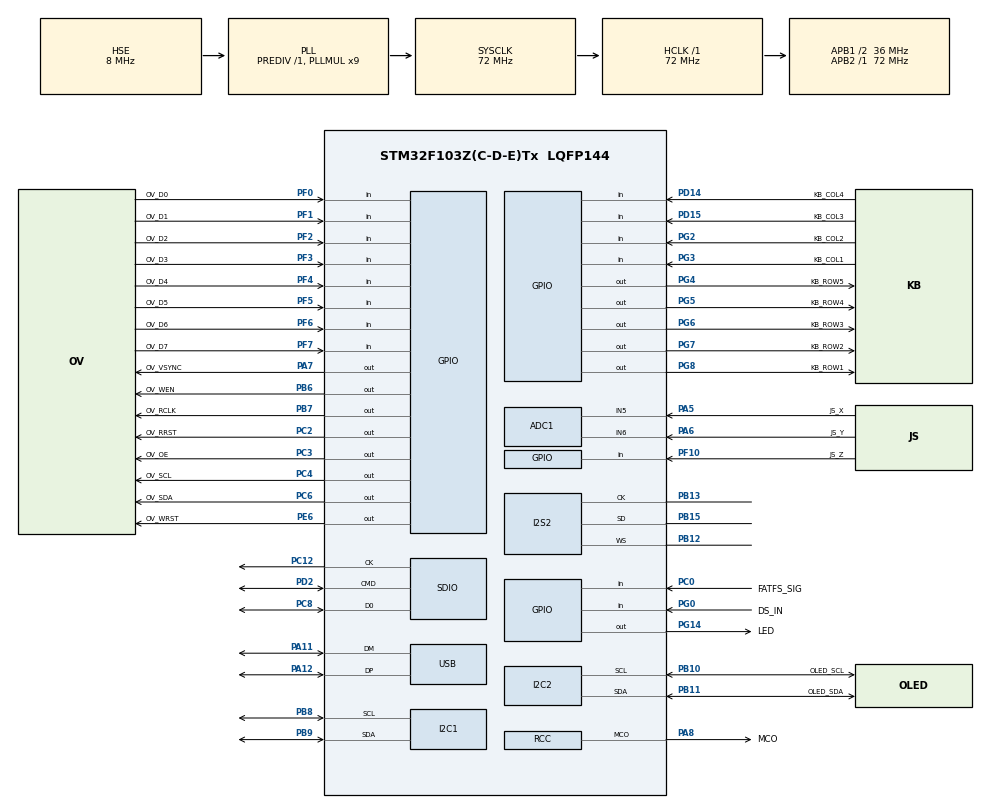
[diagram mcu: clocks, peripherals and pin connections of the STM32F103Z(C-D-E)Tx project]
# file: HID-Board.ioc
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ADC1.Channel-0\#ChannelRegularConversion=ADC_CHANNEL_5
ADC1.Channel-1\#ChannelRegularConversion=ADC_CHANNEL_6
ADC1.ContinuousConvMode=ENABLE
ADC1.NbrOfConversion=2
ADC1.NbrOfConversionFlag=1
ADC1.Rank-0\#ChannelRegularConversion=1
ADC1.Rank-1\#ChannelRegularConversion=2
ADC1.SamplingTime-0\#ChannelRegularConversion=ADC_SAMPLETIME_239CYCLES_5
ADC1.SamplingTime-1\#ChannelRegularConversion=ADC_SAMPLETIME_239CYCLES_5
ADC1.master=1
Dma.ADC1.1.Direction=DMA_PERIPH_TO_MEMORY
Dma.ADC1.1.Instance=DMA1_Channel1
Dma.ADC1.1.MemDataAlignment=DMA_MDATAALIGN_WORD
Dma.ADC1.1.MemInc=DMA_MINC_ENABLE
Dma.ADC1.1.Mode=DMA_CIRCULAR
Dma.ADC1.1.PeriphDataAlignment=DMA_PDATAALIGN_WORD
Dma.ADC1.1.PeriphInc=DMA_PINC_DISABLE
Dma.ADC1.1.Priority=DMA_PRIORITY_HIGH
Dma.Request0=SDIO
Dma.Request1=ADC1
Dma.SDIO.0.Direction=DMA_PERIPH_TO_MEMORY
Dma.SDIO.0.Instance=DMA2_Channel4
Dma.SDIO.0.MemDataAlignment=DMA_MDATAALIGN_WORD
Dma.SDIO.0.MemInc=DMA_MINC_ENABLE
Dma.SDIO.0.Mode=DMA_NORMAL
Dma.SDIO.0.PeriphDataAlignment=DMA_PDATAALIGN_WORD
Dma.SDIO.0.PeriphInc=DMA_PINC_DISABLE
Dma.SDIO.0.Priority=DMA_PRIORITY_LOW
FATFS.BSP.number=1
FATFS._CODE_PAGE=437
FATFS._MAX_LFN=64
FATFS._USE_LFN=2
FATFS0.BSP.STBoard=false
FATFS0.BSP.api=Unknown
FATFS0.BSP.instance=PC0
FATFS0.BSP.ip=GPIO
FATFS0.BSP.mode=Input
FATFS0.BSP.name=Detect_SDIO
FATFS0.BSP.solution=PC0
I2S2.ErrorAudioFreq=0.08 %
I2S2.Instance=SPI$Index
I2S2.RealAudioFreq=8.007 KHz
I2S2.VirtualMode=I2S_MODE_MASTER
Mcu.Family=STM32F1
Mcu.Name=STM32F103Z(C-D-E)Tx
Mcu.Package=LQFP144
NVIC.DMA1_Channel1_IRQn=true\:0\:0\:false\:false\:true\:false\:true\:true
NVIC.DMA2_Channel4_5_IRQn=true\:2\:0\:true\:false\:true\:false\:true\:true
NVIC.PriorityGroup=NVIC_PRIORITYGROUP_4
NVIC.SDIO_IRQn=true\:0\:0\:false\:false\:true\:true\:true\:true
NVIC.USB_LP_CAN1_RX0_IRQn=true\:0\:0\:false\:false\:true\:false\:true\:true
OSC_IN.Mode=HSE-External-Oscillator
OSC_IN.Signal=RCC_OSC_IN
OSC_OUT.Mode=HSE-External-Oscillator
OSC_OUT.Signal=RCC_OSC_OUT
PA11.Mode=Device
PA11.Signal=USB_DM
PA12.Mode=Device
PA12.Signal=USB_DP
PA13.Mode=Serial_Wire
PA13.Signal=SYS_JTMS-SWDIO
PA14.Mode=Serial_Wire
PA14.Signal=SYS_JTCK-SWCLK
PA5.GPIO_Label=JS_X
PA5.Signal=ADCx_IN5
PA6.GPIO_Label=JS_Y
PA6.Signal=ADCx_IN6
PA7.GPIO_Label=OV_VSYNC
PA7.Signal=GPIO_Output
PA8.GPIO_Label=MCO
PA8.Mode=Clock-out
PA8.Signal=RCC_MCO
PB10.GPIO_Label=OLED_SCL
PB10.Mode=I2C
PB10.Signal=I2C2_SCL
PB11.GPIO_Label=OLED_SDA
PB11.Mode=I2C
PB11.Signal=I2C2_SDA
PB12.Mode=Half_Duplex_Master_TX
PB12.Signal=I2S2_WS
PB13.Mode=Half_Duplex_Master_TX
PB13.Signal=I2S2_CK
PB15.Mode=Half_Duplex_Master_TX
PB15.Signal=I2S2_SD
PB6.GPIO_Label=OV_WEN
PB6.Signal=GPIO_Output
PB7.GPIO_Label=OV_RCLK
PB7.Signal=GPIO_Output
PB8.Mode=I2C
PB8.Signal=I2C1_SCL
PB9.Mode=I2C
PB9.Signal=I2C1_SDA
PC0.GPIO_Label=FATFS_SIG
PC0.GPIO_PuPd=GPIO_PULLDOWN
PC0.Signal=GPIO_Input
PC12.Mode=SD_1_bit
PC12.Signal=SDIO_CK
PC2.GPIO_Label=OV_RRST
PC2.Signal=GPIO_Output
PC3.GPIO_Label=OV_OE
PC3.Signal=GPIO_Output
PC4.GPIO_Label=OV_SCL
PC4.Signal=GPIO_Output
PC6.GPIO_Label=OV_SDA
PC6.Signal=GPIO_Output
PC8.Mode=SD_1_bit
PC8.Signal=SDIO_D0
PD14.GPIO_Label=KB_COL4
PD14.GPIO_PuPd=GPIO_PULLDOWN
PD14.Signal=GPIO_Input
PD15.GPIO_Label=KB_COL3
PD15.GPIO_PuPd=GPIO_PULLDOWN
PD15.Signal=GPIO_Input
PD2.Mode=SD_1_bit
PD2.Signal=SDIO_CMD
PE6.GPIO_Label=OV_WRST
PE6.Signal=GPIO_Output
PF0.GPIO_Label=OV_D0
PF0.Signal=GPIO_Input
PF1.GPIO_Label=OV_D1
PF1.Signal=GPIO_Input
PF10.GPIO_Label=JS_Z
PF10.Signal=GPIO_Input
PF2.GPIO_Label=OV_D2
PF2.Signal=GPIO_Input
PF3.GPIO_Label=OV_D3
PF3.Signal=GPIO_Input
PF4.GPIO_Label=OV_D4
PF4.Signal=GPIO_Input
PF5.GPIO_Label=OV_D5
PF5.Signal=GPIO_Input
PF6.GPIO_Label=OV_D6
PF6.Signal=GPIO_Input
PF7.GPIO_Label=OV_D7
PF7.Signal=GPIO_Input
PG0.GPIO_Label=DS_IN
PG0.Signal=GPIO_Input
PG14.GPIO_Label=LED
PG14.Signal=GPIO_Output
PG2.GPIO_Label=KB_COL2
PG2.GPIO_PuPd=GPIO_PULLDOWN
PG2.Signal=GPIO_Input
PG3.GPIO_Label=KB_COL1
PG3.GPIO_PuPd=GPIO_PULLDOWN
PG3.Signal=GPIO_Input
PG4.GPIO_Label=KB_ROW5
PG4.GPIO_PuPd=GPIO_NOPULL
PG4.GPIO_Speed=GPIO_SPEED_FREQ_HIGH
PG4.Signal=GPIO_Output
PG5.GPIO_Label=KB_ROW4
PG5.GPIO_PuPd=GPIO_NOPULL
PG5.GPIO_Speed=GPIO_SPEED_FREQ_HIGH
PG5.Signal=GPIO_Output
PG6.GPIO_Label=KB_ROW3
PG6.GPIO_PuPd=GPIO_NOPULL
PG6.GPIO_Speed=GPIO_SPEED_FREQ_HIGH
PG6.Signal=GPIO_Output
PG7.GPIO_Label=KB_ROW2
PG7.GPIO_PuPd=GPIO_NOPULL
PG7.GPIO_Speed=GPIO_SPEED_FREQ_HIGH
PG7.Signal=GPIO_Output
PG8.GPIO_Label=KB_ROW1
PG8.GPIO_PuPd=GPIO_NOPULL
PG8.GPIO_Speed=GPIO_SPEED_FREQ_HIGH
PG8.Signal=GPIO_Output
ProjectManager.HeapSize=0x200
ProjectManager.StackSize=0x400
ProjectManager.TargetToolchain=Makefile
RCC.ADCPresc=RCC_ADCPCLK2_DIV6
RCC.AHBFreq_Value=72000000
RCC.APB1CLKDivider=RCC_HCLK_DIV2
RCC.APB1Freq_Value=36000000
RCC.APB1TimFreq_Value=72000000
RCC.APB2Freq_Value=72000000
RCC.APB2TimFreq_Value=72000000
RCC.HCLKFreq_Value=72000000
RCC.PLLMUL=RCC_PLL_MUL9
RCC.PLLSourceVirtual=RCC_PLLSOURCE_HSE
RCC.RCC_MCOSource=RCC_MCO1SOURCE_HSE
RCC.SYSCLKFreq_VALUE=72000000
RCC.SYSCLKSource=RCC_SYSCLKSOURCE_PLLCLK
RCC.USBFreq_Value=48000000
RCC.USBPrescaler=RCC_USBCLKSOURCE_PLL_DIV1_5
SDIO.ClockDiv=2
SH.ADCx_IN5.0=ADC1_IN5,IN5
SH.ADCx_IN6.0=ADC1_IN6,IN6
USB_DEVICE.CLASS_NAME_FS=HID
USB_DEVICE.VirtualMode=Hid
USB_DEVICE.VirtualModeFS=Hid_FS
VP_FATFS_VS_SDIO.Mode=SDIO
VP_USB_DEVICE_VS_USB_DEVICE_HID_FS.Mode=HID_FS
board=custom

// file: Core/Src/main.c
/* USER CODE BEGIN Header */
/**
 ******************************************************************************
 * @file           : main.c
 * @brief          : Main program body
 ******************************************************************************
 * @attention
 *
 * Copyright (c) 2025 STMicroelectronics.
 * All rights reserved.
 *
 * This software is licensed under terms that can be found in the LICENSE file
 * in the root directory of this software component.
 * If no LICENSE file comes with this software, it is provided AS-IS.
 *
 ******************************************************************************
 */
/* USER CODE END Header */
#include "main.h"
#include "fatfs.h"
#include "usb_device.h"

/* USER CODE BEGIN Includes */
#include "sd_card.h"
#include "joystick.h"
#include "usbd_hid_keyboard.h"
#include "keyboard.h"
#include "camera.h"
#include "delay.h"
#include <stdlib.h>
/* USER CODE END Includes */

ADC_HandleTypeDef hadc1;
DMA_HandleTypeDef hdma_adc1;

I2C_HandleTypeDef hi2c1;
I2C_HandleTypeDef hi2c2;

I2S_HandleTypeDef hi2s2;

SD_HandleTypeDef hsd;
DMA_HandleTypeDef hdma_sdio;

/* USER CODE BEGIN PV */
extern USBD_HandleTypeDef hUsbDeviceFS;
keyboard_ctx ctx;
/* USER CODE END PV */

void SystemClock_Config(void);
static void MX_GPIO_Init(void);
static void MX_DMA_Init(void);
static void MX_ADC1_Init(void);
static void MX_I2C1_Init(void);
static void MX_I2C2_Init(void);
static void MX_SDIO_SD_Init(void);
static void MX_I2S2_Init(void);

int main(void)
{

  /* MCU Configuration--------------------------------------------------------*/

  /* Reset of all peripherals, Initializes the Flash interface and the Systick. */
  HAL_Init();

  /* Configure the system clock */
  SystemClock_Config();

  /* Initialize all configured peripherals */
  MX_GPIO_Init();
  MX_DMA_Init();
  MX_ADC1_Init();
  MX_I2C1_Init();
  MX_I2C2_Init();
  MX_SDIO_SD_Init();
  MX_I2S2_Init();
  MX_FATFS_Init();
  MX_USB_DEVICE_Init();
  delay_init();

  /* Infinite loop */
  /* USER CODE BEGIN WHILE */
  sd_card_init();
  // BYTE w_buf[] = "This is another test";
  // int res = sd_card_write("test2.txt", w_buf, sizeof(w_buf));
  // printf("%d", res);
  // size_t buflen = 1024;
  // BYTE *buf = (BYTE *)malloc(sizeof(BYTE) * buflen);
  // res = sd_card_read("test2.txt", buf, buflen);
  // printf("%d", res);

  // ctx = keyboard_new();
  uint8_t ret;

  ret = camera_init();
  if (ret != 0)
  {
      Error_Handler();
  }

  ret  = camera_set_output(CAMERA_QVGA_WIDTH_MAX, CAMERA_QVGA_HEIGHT_MAX, CAMERA_OUTPUT_MODE_QVGA);
  ret += camera_set_light_mode(CAMERA_LIGHT_MODE_AUTO);
  ret += camera_set_color_saturation(CAMERA_COLOR_SATURATION_4);
  ret += camera_set_brightness(CAMERA_BRIGHTNESS_4);
  ret += camera_set_contrast(CAMERA_CONTRAST_4);
  ret += camera_set_special_effect(CAMERA_SPECIAL_EFFECT_NORMAL);
  if (ret != 0)
  {
      Error_Handler();
  }
  camera_enable_output();
  size_t buflen = camera_get_output_height() * camera_get_output_width() * 2;
  uint16_t *buf = (uint16_t *)malloc(buflen);
  ret = camera_get_frame(buf, CAMERA_GET_FRAME_TYPE_AUTO_INC);
  int res = sd_card_write("frame.raw", (BYTE *)(buf), buflen);
  while (1)
  {
    // keyboard_scan(&ctx);
    /* USER CODE END WHILE */

  }
}

void SystemClock_Config(void)
{
  RCC_OscInitTypeDef RCC_OscInitStruct = {0};
  RCC_ClkInitTypeDef RCC_ClkInitStruct = {0};
  RCC_PeriphCLKInitTypeDef PeriphClkInit = {0};

  /** Initializes the RCC Oscillators according to the specified parameters
  * in the RCC_OscInitTypeDef structure.
  */
  RCC_OscInitStruct.OscillatorType = RCC_OSCILLATORTYPE_HSE;
  RCC_OscInitStruct.HSEState = RCC_HSE_ON;
  RCC_OscInitStruct.HSEPredivValue = RCC_HSE_PREDIV_DIV1;
  RCC_OscInitStruct.HSIState = RCC_HSI_ON;
  RCC_OscInitStruct.PLL.PLLState = RCC_PLL_ON;
  RCC_OscInitStruct.PLL.PLLSource = RCC_PLLSOURCE_HSE;
  RCC_OscInitStruct.PLL.PLLMUL = RCC_PLL_MUL9;
  if (HAL_RCC_OscConfig(&RCC_OscInitStruct) != HAL_OK)
  {
    Error_Handler();
  }

  /** Initializes the CPU, AHB and APB buses clocks
  */
  RCC_ClkInitStruct.ClockType = RCC_CLOCKTYPE_HCLK|RCC_CLOCKTYPE_SYSCLK
                              |RCC_CLOCKTYPE_PCLK1|RCC_CLOCKTYPE_PCLK2;
  RCC_ClkInitStruct.SYSCLKSource = RCC_SYSCLKSOURCE_PLLCLK;
  RCC_ClkInitStruct.AHBCLKDivider = RCC_SYSCLK_DIV1;
  RCC_ClkInitStruct.APB1CLKDivider = RCC_HCLK_DIV2;
  RCC_ClkInitStruct.APB2CLKDivider = RCC_HCLK_DIV1;

  if (HAL_RCC_ClockConfig(&RCC_ClkInitStruct, FLASH_LATENCY_2) != HAL_OK)
  {
    Error_Handler();
  }
  PeriphClkInit.PeriphClockSelection = RCC_PERIPHCLK_ADC|RCC_PERIPHCLK_I2S2
                              |RCC_PERIPHCLK_USB;
  PeriphClkInit.AdcClockSelection = RCC_ADCPCLK2_DIV6;
  PeriphClkInit.I2s2ClockSelection = RCC_I2S2CLKSOURCE_SYSCLK;
  PeriphClkInit.UsbClockSelection = RCC_USBCLKSOURCE_PLL_DIV1_5;
  if (HAL_RCCEx_PeriphCLKConfig(&PeriphClkInit) != HAL_OK)
  {
    Error_Handler();
  }
  HAL_RCC_MCOConfig(RCC_MCO, RCC_MCO1SOURCE_HSE, RCC_MCODIV_1);
}

static void MX_ADC1_Init(void)
{

  ADC_ChannelConfTypeDef sConfig = {0};

  /** Common config
  */
  hadc1.Instance = ADC1;
  hadc1.Init.ScanConvMode = ADC_SCAN_ENABLE;
  hadc1.Init.ContinuousConvMode = ENABLE;
  hadc1.Init.DiscontinuousConvMode = DISABLE;
  hadc1.Init.ExternalTrigConv = ADC_SOFTWARE_START;
  hadc1.Init.DataAlign = ADC_DATAALIGN_RIGHT;
  hadc1.Init.NbrOfConversion = 2;
  if (HAL_ADC_Init(&hadc1) != HAL_OK)
  {
    Error_Handler();
  }

  /** Configure Regular Channel
  */
  sConfig.Channel = ADC_CHANNEL_5;
  sConfig.Rank = ADC_REGULAR_RANK_1;
  sConfig.SamplingTime = ADC_SAMPLETIME_239CYCLES_5;
  if (HAL_ADC_ConfigChannel(&hadc1, &sConfig) != HAL_OK)
  {
    Error_Handler();
  }

  /** Configure Regular Channel
  */
  sConfig.Channel = ADC_CHANNEL_6;
  sConfig.Rank = ADC_REGULAR_RANK_2;
  if (HAL_ADC_ConfigChannel(&hadc1, &sConfig) != HAL_OK)
  {
    Error_Handler();
  }

}

static void MX_I2C1_Init(void)
{

  hi2c1.Instance = I2C1;
  hi2c1.Init.ClockSpeed = 100000;
  hi2c1.Init.DutyCycle = I2C_DUTYCYCLE_2;
  hi2c1.Init.OwnAddress1 = 0;
  hi2c1.Init.AddressingMode = I2C_ADDRESSINGMODE_7BIT;
  hi2c1.Init.DualAddressMode = I2C_DUALADDRESS_DISABLE;
  hi2c1.Init.OwnAddress2 = 0;
  hi2c1.Init.GeneralCallMode = I2C_GENERALCALL_DISABLE;
  hi2c1.Init.NoStretchMode = I2C_NOSTRETCH_DISABLE;
  if (HAL_I2C_Init(&hi2c1) != HAL_OK)
  {
    Error_Handler();
  }

}

static void MX_I2C2_Init(void)
{

  hi2c2.Instance = I2C2;
  hi2c2.Init.ClockSpeed = 100000;
  hi2c2.Init.DutyCycle = I2C_DUTYCYCLE_2;
  hi2c2.Init.OwnAddress1 = 0;
  hi2c2.Init.AddressingMode = I2C_ADDRESSINGMODE_7BIT;
  hi2c2.Init.DualAddressMode = I2C_DUALADDRESS_DISABLE;
  hi2c2.Init.OwnAddress2 = 0;
  hi2c2.Init.GeneralCallMode = I2C_GENERALCALL_DISABLE;
  hi2c2.Init.NoStretchMode = I2C_NOSTRETCH_DISABLE;
  if (HAL_I2C_Init(&hi2c2) != HAL_OK)
  {
    Error_Handler();
  }

}

static void MX_I2S2_Init(void)
{

  hi2s2.Instance = SPI2;
  hi2s2.Init.Mode = I2S_MODE_MASTER_TX;
  hi2s2.Init.Standard = I2S_STANDARD_PHILIPS;
  hi2s2.Init.DataFormat = I2S_DATAFORMAT_16B;
  hi2s2.Init.MCLKOutput = I2S_MCLKOUTPUT_DISABLE;
  hi2s2.Init.AudioFreq = I2S_AUDIOFREQ_8K;
  hi2s2.Init.CPOL = I2S_CPOL_LOW;
  if (HAL_I2S_Init(&hi2s2) != HAL_OK)
  {
    Error_Handler();
  }

}

static void MX_SDIO_SD_Init(void)
{

  hsd.Instance = SDIO;
  hsd.Init.ClockEdge = SDIO_CLOCK_EDGE_RISING;
  hsd.Init.ClockBypass = SDIO_CLOCK_BYPASS_DISABLE;
  hsd.Init.ClockPowerSave = SDIO_CLOCK_POWER_SAVE_DISABLE;
  hsd.Init.BusWide = SDIO_BUS_WIDE_1B;
  hsd.Init.HardwareFlowControl = SDIO_HARDWARE_FLOW_CONTROL_DISABLE;
  hsd.Init.ClockDiv = 2;
  /* USER CODE BEGIN SDIO_Init 2 */
  hsd.Init.ClockDiv = 5;
  /* USER CODE END SDIO_Init 2 */

}

static void MX_DMA_Init(void)
{

  /* DMA controller clock enable */
  __HAL_RCC_DMA2_CLK_ENABLE();
  __HAL_RCC_DMA1_CLK_ENABLE();

  /* DMA interrupt init */
  /* DMA1_Channel1_IRQn interrupt configuration */
  HAL_NVIC_SetPriority(DMA1_Channel1_IRQn, 0, 0);
  HAL_NVIC_EnableIRQ(DMA1_Channel1_IRQn);
  /* DMA2_Channel4_5_IRQn interrupt configuration */
  HAL_NVIC_SetPriority(DMA2_Channel4_5_IRQn, 2, 0);
  HAL_NVIC_EnableIRQ(DMA2_Channel4_5_IRQn);

}

static void MX_GPIO_Init(void)
{
  GPIO_InitTypeDef GPIO_InitStruct = {0};

  /* GPIO Ports Clock Enable */
  __HAL_RCC_GPIOE_CLK_ENABLE();
  __HAL_RCC_GPIOF_CLK_ENABLE();
  __HAL_RCC_GPIOC_CLK_ENABLE();
  __HAL_RCC_GPIOA_CLK_ENABLE();
  __HAL_RCC_GPIOG_CLK_ENABLE();
  __HAL_RCC_GPIOB_CLK_ENABLE();
  __HAL_RCC_GPIOD_CLK_ENABLE();

  /*Configure GPIO pin Output Level */
  HAL_GPIO_WritePin(OV_WRST_GPIO_Port, OV_WRST_Pin, GPIO_PIN_RESET);

  /*Configure GPIO pin Output Level */
  HAL_GPIO_WritePin(GPIOC, OV_RRST_Pin|OV_OE_Pin|OV_SCL_Pin|OV_SDA_Pin, GPIO_PIN_RESET);

  /*Configure GPIO pin Output Level */
  HAL_GPIO_WritePin(OV_VSYNC_GPIO_Port, OV_VSYNC_Pin, GPIO_PIN_RESET);

  /*Configure GPIO pin Output Level */
  HAL_GPIO_WritePin(GPIOG, KB_ROW5_Pin|KB_ROW4_Pin|KB_ROW3_Pin|KB_ROW2_Pin
                          |KB_ROW1_Pin|LED_Pin, GPIO_PIN_RESET);

  /*Configure GPIO pin Output Level */
  HAL_GPIO_WritePin(GPIOB, OV_WEN_Pin|OV_RCLK_Pin, GPIO_PIN_RESET);

  /*Configure GPIO pin : OV_WRST_Pin */
  GPIO_InitStruct.Pin = OV_WRST_Pin;
  GPIO_InitStruct.Mode = GPIO_MODE_OUTPUT_PP;
  GPIO_InitStruct.Pull = GPIO_NOPULL;
  GPIO_InitStruct.Speed = GPIO_SPEED_FREQ_LOW;
  HAL_GPIO_Init(OV_WRST_GPIO_Port, &GPIO_InitStruct);

  /*Configure GPIO pins : OV_D0_Pin OV_D1_Pin OV_D2_Pin OV_D3_Pin
                           OV_D4_Pin OV_D5_Pin OV_D6_Pin OV_D7_Pin
                           JS_Z_Pin */
  GPIO_InitStruct.Pin = OV_D0_Pin|OV_D1_Pin|OV_D2_Pin|OV_D3_Pin
                          |OV_D4_Pin|OV_D5_Pin|OV_D6_Pin|OV_D7_Pin
                          |JS_Z_Pin;
  GPIO_InitStruct.Mode = GPIO_MODE_INPUT;
  GPIO_InitStruct.Pull = GPIO_NOPULL;
  HAL_GPIO_Init(GPIOF, &GPIO_InitStruct);

  /*Configure GPIO pin : FATFS_SIG_Pin */
  GPIO_InitStruct.Pin = FATFS_SIG_Pin;
  GPIO_InitStruct.Mode = GPIO_MODE_INPUT;
  GPIO_InitStruct.Pull = GPIO_PULLDOWN;
  HAL_GPIO_Init(FATFS_SIG_GPIO_Port, &GPIO_InitStruct);

  /*Configure GPIO pins : OV_RRST_Pin OV_OE_Pin OV_SCL_Pin OV_SDA_Pin */
  GPIO_InitStruct.Pin = OV_RRST_Pin|OV_OE_Pin|OV_SCL_Pin|OV_SDA_Pin;
  GPIO_InitStruct.Mode = GPIO_MODE_OUTPUT_PP;
  GPIO_InitStruct.Pull = GPIO_NOPULL;
  GPIO_InitStruct.Speed = GPIO_SPEED_FREQ_LOW;
  HAL_GPIO_Init(GPIOC, &GPIO_InitStruct);

  /*Configure GPIO pin : OV_VSYNC_Pin */
  GPIO_InitStruct.Pin = OV_VSYNC_Pin;
  GPIO_InitStruct.Mode = GPIO_MODE_OUTPUT_PP;
  GPIO_InitStruct.Pull = GPIO_NOPULL;
  GPIO_InitStruct.Speed = GPIO_SPEED_FREQ_LOW;
  HAL_GPIO_Init(OV_VSYNC_GPIO_Port, &GPIO_InitStruct);

  /*Configure GPIO pin : DS_IN_Pin */
  GPIO_InitStruct.Pin = DS_IN_Pin;
  GPIO_InitStruct.Mode = GPIO_MODE_INPUT;
  GPIO_InitStruct.Pull = GPIO_NOPULL;
  HAL_GPIO_Init(DS_IN_GPIO_Port, &GPIO_InitStruct);

  /*Configure GPIO pins : KB_COL4_Pin KB_COL3_Pin */
  GPIO_InitStruct.Pin = KB_COL4_Pin|KB_COL3_Pin;
  GPIO_InitStruct.Mode = GPIO_MODE_INPUT;
  GPIO_InitStruct.Pull = GPIO_PULLDOWN;
  HAL_GPIO_Init(GPIOD, &GPIO_InitStruct);

  /*Configure GPIO pins : KB_COL2_Pin KB_COL1_Pin */
  GPIO_InitStruct.Pin = KB_COL2_Pin|KB_COL1_Pin;
  GPIO_InitStruct.Mode = GPIO_MODE_INPUT;
  GPIO_InitStruct.Pull = GPIO_PULLDOWN;
  HAL_GPIO_Init(GPIOG, &GPIO_InitStruct);

  /*Configure GPIO pins : KB_ROW5_Pin KB_ROW4_Pin KB_ROW3_Pin KB_ROW2_Pin
                           KB_ROW1_Pin */
  GPIO_InitStruct.Pin = KB_ROW5_Pin|KB_ROW4_Pin|KB_ROW3_Pin|KB_ROW2_Pin
                          |KB_ROW1_Pin;
  GPIO_InitStruct.Mode = GPIO_MODE_OUTPUT_PP;
  GPIO_InitStruct.Pull = GPIO_NOPULL;
  GPIO_InitStruct.Speed = GPIO_SPEED_FREQ_HIGH;
  HAL_GPIO_Init(GPIOG, &GPIO_InitStruct);

  /*Configure GPIO pin : MCO_Pin */
  GPIO_InitStruct.Pin = MCO_Pin;
  GPIO_InitStruct.Mode = GPIO_MODE_AF_PP;
  GPIO_InitStruct.Speed = GPIO_SPEED_FREQ_LOW;
  HAL_GPIO_Init(MCO_GPIO_Port, &GPIO_InitStruct);

  /*Configure GPIO pin : LED_Pin */
  GPIO_InitStruct.Pin = LED_Pin;
  GPIO_InitStruct.Mode = GPIO_MODE_OUTPUT_PP;
  GPIO_InitStruct.Pull = GPIO_NOPULL;
  GPIO_InitStruct.Speed = GPIO_SPEED_FREQ_LOW;
  HAL_GPIO_Init(LED_GPIO_Port, &GPIO_InitStruct);

  /*Configure GPIO pins : OV_WEN_Pin OV_RCLK_Pin */
  GPIO_InitStruct.Pin = OV_WEN_Pin|OV_RCLK_Pin;
  GPIO_InitStruct.Mode = GPIO_MODE_OUTPUT_PP;
  GPIO_InitStruct.Pull = GPIO_NOPULL;
  GPIO_InitStruct.Speed = GPIO_SPEED_FREQ_LOW;
  HAL_GPIO_Init(GPIOB, &GPIO_InitStruct);

}

void Error_Handler(void)
{
  __disable_irq();
  while (1)
  {
  }
}
